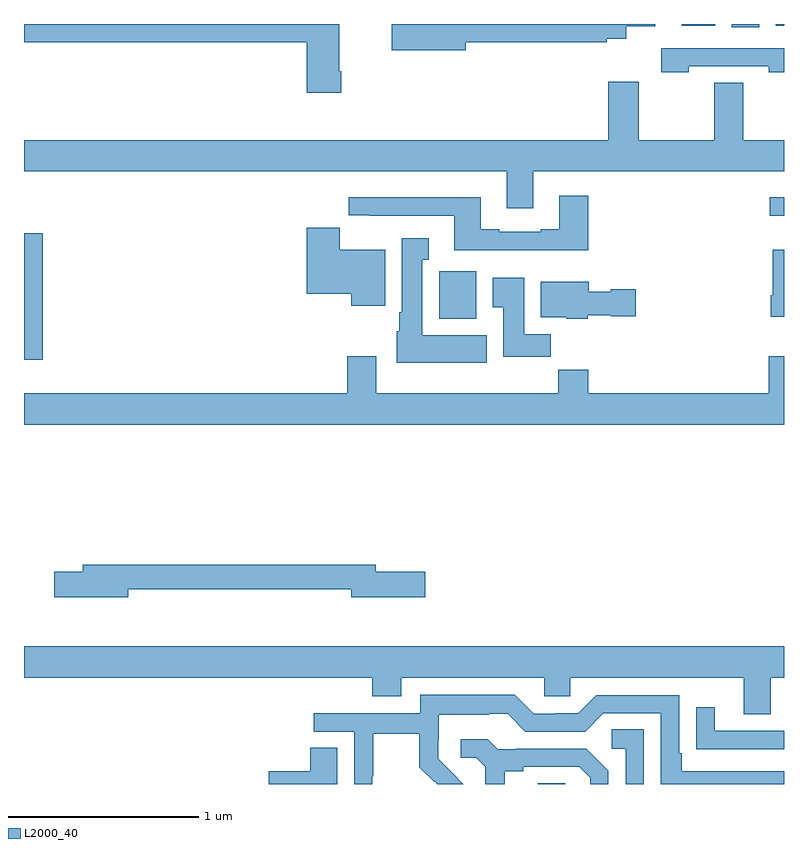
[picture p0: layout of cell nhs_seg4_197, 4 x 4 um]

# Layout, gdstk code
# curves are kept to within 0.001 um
import gdstk
lib = gdstk.Library(unit=1e-6, precision=1e-09)
def R(c, l, rs):  # rectangles x0, y0, x1, y1
    for r in rs: c.add(gdstk.rectangle(r[:2], r[2:], *l))
def P(c, l, *ps):  # polygons
    for p in ps: c.add(gdstk.Polygon(p, *l))
L2000_40 = (2000, 40)

nhs_seg4_197 = lib.new_cell('nhs_seg4_197')
R(nhs_seg4_197, L2000_40, [(121.703,822.9,121.848,822.905), (119,825.132,119.099,825.799), (121.185,825.35,121.381,825.6), (122.925,825.891,123,825.988), (122.726,826.884,122.869,826.9), (122.462,826.892,122.638,826.9), (122.957,826.892,123,826.9)])
P(nhs_seg4_197, L2000_40, [(120.671,826.651),(120.658,826.651),(120.658,826.9),(119,826.9),(119,826.804),(120.488,826.804),(120.488,826.539),(120.671,826.539)],
  [(121.324,826.804),(122.066,826.804),(122.066,826.822),(122.169,826.822),(122.169,826.889),(122.323,826.889),(122.323,826.9),(120.936,826.9),(120.936,826.762),(121.324,826.762)],
  [(122.499,826.677),(122.919,826.677),(122.919,826.645),(123,826.645),(123,826.773),(122.355,826.773),(122.355,826.645),(122.499,826.645)],
  [(121.681,826.124),(123,826.124),(123,826.288),(122.786,826.288),(122.786,826.592),(122.632,826.592),(122.632,826.288),(122.235,826.288),(122.235,826.597),(122.075,826.597),(122.075,826.288),(119,826.288),(119,826.124),(121.541,826.124),(121.541,825.93),(121.681,825.93)],
  [(121.97,825.997),(121.817,825.997),(121.817,825.82),(121.721,825.82),(121.721,825.807),(121.501,825.807),(121.501,825.82),(121.405,825.82),(121.405,825.988),(120.708,825.988),(120.708,825.893),(120.817,825.893),(120.817,825.891),(121.265,825.891),(121.265,825.71),(121.97,825.71)],
  [(120.901,825.712),(120.661,825.712),(120.661,825.828),(120.488,825.828),(120.488,825.479),(120.722,825.479),(120.722,825.416),(120.901,825.416)],
  [(121.435,825.262),(121.096,825.262),(121.096,825.659),(121.129,825.659),(121.129,825.772),(120.989,825.772),(120.989,825.382),(120.974,825.382),(120.974,825.282),(120.962,825.282),(120.962,825.116),(121.435,825.116)],
  [(123,825.712),(122.942,825.712),(122.942,825.472),(122.93,825.472),(122.93,825.36),(123,825.36)],
  [(121.772,825.268),(121.633,825.268),(121.633,825.565),(121.466,825.565),(121.466,825.409),(121.523,825.409),(121.523,825.15),(121.772,825.15)],
  [(121.968,825.368),(122.088,825.368),(122.088,825.361),(122.221,825.361),(122.221,825.503),(122.088,825.503),(122.088,825.49),(121.972,825.49),(121.972,825.544),(121.721,825.544),(121.721,825.356),(121.854,825.356),(121.854,825.35),(121.968,825.35)],
  [(123,825.151),(122.921,825.151),(122.921,824.956),(121.97,824.956),(121.97,825.08),(121.813,825.08),(121.813,824.956),(120.853,824.956),(120.853,825.151),(120.701,825.151),(120.701,824.956),(119,824.956),(119,824.792),(123,824.792)],
  [(119.548,823.926),(120.722,823.926),(120.722,823.883),(121.111,823.883),(121.111,824.018),(120.85,824.018),(120.85,824.054),(119.309,824.054),(119.309,824.018),(119.16,824.018),(119.16,823.883),(119.548,823.883)],
  [(122.929,823.46),(123,823.46),(123,823.624),(119,823.624),(119,823.46),(120.833,823.46),(120.833,823.361),(120.985,823.361),(120.985,823.46),(121.737,823.46),(121.737,823.362),(121.875,823.362),(121.875,823.46),(122.789,823.46),(122.789,823.266),(122.929,823.266)],
  [(120.834,822.94),(120.837,822.94),(120.837,823.164),(121.081,823.164),(121.081,822.989),(121.158,822.912),(121.161,822.915),(121.176,822.9),(121.312,822.9),(121.18,823.034),(121.18,823.131),(121.182,823.131),(121.182,823.265),(121.445,823.265),(121.445,823.269),(121.545,823.269),(121.638,823.176),(121.953,823.176),(122.049,823.272),(122.352,823.272),(122.352,822.9),(123,822.9),(123,822.966),(122.461,822.966),(122.461,823.063),(122.448,823.063),(122.448,823.368),(122.013,823.368),(121.917,823.272),(121.799,823.272),(121.799,823.269),(121.683,823.269),(121.583,823.369),(121.086,823.369),(121.086,823.272),(120.525,823.272),(120.525,823.176),(120.738,823.176),(120.738,822.9),(120.834,822.9)],
  [(123,823.179),(122.635,823.179),(122.635,823.303),(122.539,823.303),(122.539,823.084),(122.641,823.084),(122.641,823.083),(123,823.083)],
  [(122.262,823.187),(122.094,823.187),(122.094,823.086),(122.166,823.086),(122.166,822.9),(122.262,822.9)],
  [(121.531,822.968),(121.627,822.968),(121.627,822.99),(121.922,822.99),(121.979,822.933),(121.979,822.9),(122.076,822.9),(122.076,822.97),(121.96,823.086),(121.588,823.086),(121.588,823.083),(121.494,823.083),(121.442,823.135),(121.299,823.135),(121.299,823.038),(121.38,823.038),(121.427,822.991),(121.427,822.9),(121.531,822.9)],
  [(120.649,823.091),(120.506,823.091),(120.506,822.968),(120.288,822.968),(120.288,822.9),(120.649,822.9)])

lib.write_gds('nhs_seg4_197.gds')
